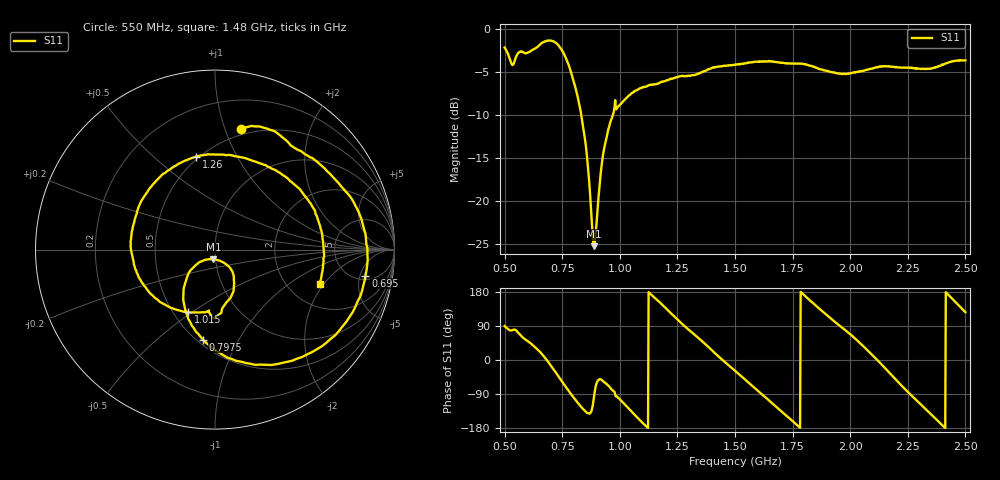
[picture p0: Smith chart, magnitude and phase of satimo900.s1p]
!Agilent Technologies,E8363A,US42130174,A.06.04.32
!Agilent E8363A: A.06.04.32
!Date: Monday, September 13, 2010 16:54:50
!Correction: S11(Full 1 Port(1))
!S1P File: Measurement: S11:
# Hz S  RI  R 50
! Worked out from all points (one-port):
!   801 points, 500 MHz to 2.5 GHz, reference 50 ohm
!   lowest |S11| = -25.2 dB at 887.5 MHz (marker M1), VSWR 1.12, Z = 48.8 - j5.3 ohm
!   |S11| at or under -10 dB: 832.5 MHz to 970.1 MHz (137.5 MHz wide, 15.3 % of centre)
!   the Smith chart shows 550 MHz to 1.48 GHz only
!   S11 on the Smith chart (normalised r, x): 550 MHz: 0.44, +1.13; 695 MHz: 5.85, -6.14; 797.5 MHz: 0.54, -0.72; 1.015 GHz: 0.59, -0.48; 1.26 GHz: 0.48, +0.70; 1.48 GHz: 2.97, -1.81
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5e8  0.00581 0.776
5.5e8  0.1422 0.6729
6.35e8  0.652 0.4094
6.95e8  0.8382 -0.145
7.5e8  0.3995 -0.626
7.975e8  -0.0655 -0.5015
8.475e8  -0.1611 -0.1708
8.875e8  -0.00915 -0.0541
9.375e8  0.1073 -0.1908
1e9  -0.0855 -0.3499
1.015e9  -0.1502 -0.3485
1.1325e9  -0.4707 0.0442
1.25e9  -0.1541 0.4994
1.26e9  -0.105 0.5184
1.3625e9  0.388 0.4085
1.48e9  0.5827 -0.1897
1.5e9  0.543 -0.2917
1.6225e9  -0.039 -0.6427
1.75e9  -0.5935 -0.2016
1.8075e9  -0.6052 0.1395
1.88e9  -0.3562 0.455
2e9  0.2065 0.511
2.13e9  0.5943 -0.081
2.25e9  0.0623 -0.5904
2.315e9  -0.3109 -0.4934
2.3925e9  -0.5964 -0.1289
2.4425e9  -0.6148 0.1989
2.5e9  -0.3859 0.5279
